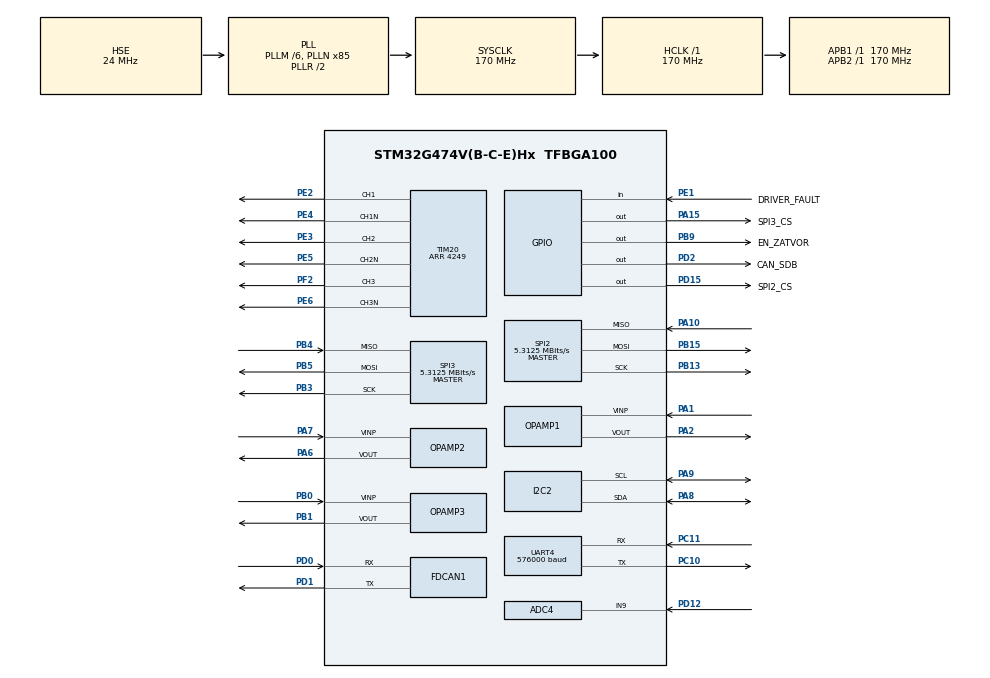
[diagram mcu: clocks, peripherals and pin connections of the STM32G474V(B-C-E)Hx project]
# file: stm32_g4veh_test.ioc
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ADC1.Channel-0\#ChannelRegularConversion=ADC_CHANNEL_VOPAMP1
ADC1.ExternalTrigConv=ADC_EXTERNALTRIG_T20_TRGO
ADC1.NbrOfConversionFlag=1
ADC1.OffsetNumber-0\#ChannelRegularConversion=ADC_OFFSET_NONE
ADC1.Rank-0\#ChannelRegularConversion=1
ADC1.SamplingTime-0\#ChannelRegularConversion=ADC_SAMPLETIME_6CYCLES_5
ADC1.master=1
ADC2.Channel-0\#ChannelRegularConversion=ADC_CHANNEL_VOPAMP2
ADC2.ExternalTrigConv=ADC_EXTERNALTRIG_T20_TRGO
ADC2.NbrOfConversionFlag=1
ADC2.OffsetNumber-0\#ChannelRegularConversion=ADC_OFFSET_NONE
ADC2.Rank-0\#ChannelRegularConversion=1
ADC2.SamplingTime-0\#ChannelRegularConversion=ADC_SAMPLETIME_6CYCLES_5
ADC3.Channel-0\#ChannelRegularConversion=ADC_CHANNEL_VOPAMP3_ADC3
ADC3.ExternalTrigConv=ADC_EXTERNALTRIG_T20_TRGO
ADC3.NbrOfConversionFlag=1
ADC3.OffsetNumber-0\#ChannelRegularConversion=ADC_OFFSET_NONE
ADC3.Rank-0\#ChannelRegularConversion=1
ADC3.SamplingTime-0\#ChannelRegularConversion=ADC_SAMPLETIME_6CYCLES_5
ADC3.master=1
ADC4.Channel-0\#ChannelRegularConversion=ADC_CHANNEL_9
ADC4.NbrOfConversionFlag=1
ADC4.OffsetNumber-0\#ChannelRegularConversion=ADC_OFFSET_NONE
ADC4.Rank-0\#ChannelRegularConversion=1
ADC4.SamplingTime-0\#ChannelRegularConversion=ADC_SAMPLETIME_2CYCLES_5
Dma.Request0=UART4_TX
Dma.Request1=UART4_RX
Dma.UART4_RX.1.Direction=DMA_PERIPH_TO_MEMORY
Dma.UART4_RX.1.EventEnable=DISABLE
Dma.UART4_RX.1.Instance=DMA1_Channel2
Dma.UART4_RX.1.MemDataAlignment=DMA_MDATAALIGN_BYTE
Dma.UART4_RX.1.MemInc=DMA_MINC_ENABLE
Dma.UART4_RX.1.Mode=DMA_NORMAL
Dma.UART4_RX.1.PeriphDataAlignment=DMA_PDATAALIGN_BYTE
Dma.UART4_RX.1.PeriphInc=DMA_PINC_DISABLE
Dma.UART4_RX.1.Polarity=HAL_DMAMUX_REQ_GEN_RISING
Dma.UART4_RX.1.Priority=DMA_PRIORITY_LOW
Dma.UART4_RX.1.RequestNumber=1
Dma.UART4_RX.1.SignalID=NONE
Dma.UART4_RX.1.SyncEnable=DISABLE
Dma.UART4_RX.1.SyncPolarity=HAL_DMAMUX_SYNC_NO_EVENT
Dma.UART4_RX.1.SyncRequestNumber=1
Dma.UART4_RX.1.SyncSignalID=NONE
Dma.UART4_TX.0.Direction=DMA_MEMORY_TO_PERIPH
Dma.UART4_TX.0.EventEnable=DISABLE
Dma.UART4_TX.0.Instance=DMA1_Channel1
Dma.UART4_TX.0.MemDataAlignment=DMA_MDATAALIGN_BYTE
Dma.UART4_TX.0.MemInc=DMA_MINC_ENABLE
Dma.UART4_TX.0.Mode=DMA_NORMAL
Dma.UART4_TX.0.PeriphDataAlignment=DMA_PDATAALIGN_BYTE
Dma.UART4_TX.0.PeriphInc=DMA_PINC_DISABLE
Dma.UART4_TX.0.Polarity=HAL_DMAMUX_REQ_GEN_RISING
Dma.UART4_TX.0.Priority=DMA_PRIORITY_LOW
Dma.UART4_TX.0.RequestNumber=1
Dma.UART4_TX.0.SignalID=NONE
Dma.UART4_TX.0.SyncEnable=DISABLE
Dma.UART4_TX.0.SyncPolarity=HAL_DMAMUX_SYNC_NO_EVENT
Dma.UART4_TX.0.SyncRequestNumber=1
Dma.UART4_TX.0.SyncSignalID=NONE
FDCAN1.ClockDivider=FDCAN_CLOCK_DIV1
FDCAN1.NominalPrescaler=170
FDCAN1.NominalTimeSeg1=4
FDCAN1.NominalTimeSeg2=3
FDCAN1.TxFifoQueueMode=FDCAN_TX_QUEUE_OPERATION
I2C2.Timing=0x30A0A7FB
Mcu.Family=STM32G4
Mcu.Name=STM32G474V(B-C-E)Hx
Mcu.Package=TFBGA100
NVIC.DMA1_Channel1_IRQn=true\:0\:0\:false\:false\:true\:false\:true
NVIC.DMA1_Channel2_IRQn=true\:0\:0\:false\:false\:true\:false\:true
NVIC.FDCAN1_IT0_IRQn=true\:0\:0\:false\:false\:true\:true\:true
NVIC.FDCAN1_IT1_IRQn=true\:0\:0\:false\:false\:true\:true\:true
NVIC.PriorityGroup=NVIC_PRIORITYGROUP_4
NVIC.UART4_IRQn=true\:0\:0\:false\:false\:true\:true\:true
OPAMP1.PgaGain=OPAMP_PGA_GAIN_16_OR_MINUS_15
OPAMP1.PowerMode=OPAMP_POWERMODE_HIGHSPEED
OPAMP2.PgaGain=OPAMP_PGA_GAIN_16_OR_MINUS_15
OPAMP2.PowerMode=OPAMP_POWERMODE_HIGHSPEED
OPAMP3.PgaGain=OPAMP_PGA_GAIN_16_OR_MINUS_15
OPAMP3.PowerMode=OPAMP_POWERMODE_HIGHSPEED
PA1.Mode=PGA Not Connected
PA1.Signal=OPAMP1_VINP
PA10.Mode=Full_Duplex_Master
PA10.Signal=SPI2_MISO
PA13.Mode=Serial_Wire
PA13.Signal=SYS_JTMS-SWDIO
PA14.Mode=Serial_Wire
PA14.Signal=SYS_JTCK-SWCLK
PA15.GPIO_Label=SPI3_CS
PA15.GPIO_Speed=GPIO_SPEED_FREQ_VERY_HIGH
PA15.PinState=GPIO_PIN_SET
PA15.Signal=GPIO_Output
PA2.Mode=PGA Not Connected
PA2.Signal=OPAMP1_VOUT
PA6.Mode=PGA Not Connected
PA6.Signal=OPAMP2_VOUT
PA7.Mode=PGA Not Connected
PA7.Signal=OPAMP2_VINP
PA8.GPIO_PuPdOD=GPIO_PULLUP
PA8.GPIO_Speed=GPIO_SPEED_FREQ_MEDIUM
PA8.Mode=I2C
PA8.Signal=I2C2_SDA
PA9.GPIO_PuPdOD=GPIO_PULLUP
PA9.GPIO_Speed=GPIO_SPEED_FREQ_MEDIUM
PA9.Mode=I2C
PA9.Signal=I2C2_SCL
PB0.Mode=PGA Not Connected
PB0.Signal=OPAMP3_VINP
PB1.Mode=PGA Not Connected
PB1.Signal=OPAMP3_VOUT
PB13.Mode=Full_Duplex_Master
PB13.Signal=SPI2_SCK
PB15.Mode=Full_Duplex_Master
PB15.Signal=SPI2_MOSI
PB3.Mode=Full_Duplex_Master
PB3.Signal=SPI3_SCK
PB4.Mode=Full_Duplex_Master
PB4.Signal=SPI3_MISO
PB5.Mode=Full_Duplex_Master
PB5.Signal=SPI3_MOSI
PB9.GPIO_Label=EN_ZATVOR
PB9.GPIO_Speed=GPIO_SPEED_FREQ_VERY_HIGH
PB9.Signal=GPIO_Output
PC10.Mode=Asynchronous
PC10.Signal=UART4_TX
PC11.Mode=Asynchronous
PC11.Signal=UART4_RX
PD0.Mode=FDCANFD
PD0.Signal=FDCAN1_RX
PD1.Mode=FDCANFD
PD1.Signal=FDCAN1_TX
PD12.Mode=IN9-Single-Ended
PD12.Signal=ADC4_IN9
PD15.GPIO_Label=SPI2_CS
PD15.GPIO_Speed=GPIO_SPEED_FREQ_VERY_HIGH
PD15.PinState=GPIO_PIN_SET
PD15.Signal=GPIO_Output
PD2.GPIO_Label=CAN_SDB
PD2.Signal=GPIO_Output
PE1.GPIO_Label=DRIVER_FAULT
PE1.Signal=GPIO_Input
PE2.Mode=PWM Generation1 CH1 CH1N
PE2.Signal=TIM20_CH1
PE3.Signal=S_TIM20_CH2
PE4.Mode=PWM Generation1 CH1 CH1N
PE4.Signal=TIM20_CH1N
PE5.Mode=PWM Generation2 CH2 CH2N
PE5.Signal=TIM20_CH2N
PE6.Mode=PWM Generation3 CH3 CH3N
PE6.Signal=TIM20_CH3N
PF0-OSC_IN.Mode=HSE-External-Oscillator
PF0-OSC_IN.Signal=RCC_OSC_IN
PF1-OSC_OUT.Mode=HSE-External-Oscillator
PF1-OSC_OUT.Signal=RCC_OSC_OUT
PF2.Signal=S_TIM20_CH3
ProjectManager.HeapSize=0x200
ProjectManager.StackSize=0x400
ProjectManager.TargetToolchain=SW4STM32
RCC.ADC12Freq_Value=170000000
RCC.ADC345Freq_Value=170000000
RCC.AHBFreq_Value=170000000
RCC.APB1Freq_Value=170000000
RCC.APB1TimFreq_Value=170000000
RCC.APB2Freq_Value=170000000
RCC.APB2TimFreq_Value=170000000
RCC.CortexFreq_Value=170000000
RCC.EXTERNAL_CLOCK_VALUE=12288000
RCC.HCLKFreq_Value=170000000
RCC.HSE_VALUE=24000000
RCC.HSI48_VALUE=48000000
RCC.HSI_VALUE=16000000
RCC.LSE_VALUE=32768
RCC.PLLM=RCC_PLLM_DIV6
RCC.PLLN=85
RCC.PLLSourceVirtual=RCC_PLLSOURCE_HSE
RCC.SYSCLKFreq_VALUE=170000000
RCC.SYSCLKSource=RCC_SYSCLKSOURCE_PLLCLK
RCC.USBFreq_Value=170000000
RCC.VCOOutputFreq_Value=340000000
SH.S_TIM20_CH2.0=TIM20_CH2,PWM Generation2 CH2 CH2N
SH.S_TIM20_CH3.0=TIM20_CH3,PWM Generation3 CH3 CH3N
SPI2.BaudRatePrescaler=SPI_BAUDRATEPRESCALER_32
SPI2.CalculateBaudRate=5.3125 MBits/s
SPI2.DataSize=SPI_DATASIZE_8BIT
SPI2.Direction=SPI_DIRECTION_2LINES
SPI2.Mode=SPI_MODE_MASTER
SPI2.VirtualType=VM_MASTER
SPI3.BaudRatePrescaler=SPI_BAUDRATEPRESCALER_32
SPI3.CalculateBaudRate=5.3125 MBits/s
SPI3.DataSize=SPI_DATASIZE_8BIT
SPI3.Direction=SPI_DIRECTION_2LINES
SPI3.Mode=SPI_MODE_MASTER
SPI3.VirtualType=VM_MASTER
TIM20.Channel-PWM\ Generation1\ CH1\ CH1N=TIM_CHANNEL_1
TIM20.Channel-PWM\ Generation2\ CH2\ CH2N=TIM_CHANNEL_2
TIM20.Channel-PWM\ Generation3\ CH3\ CH3N=TIM_CHANNEL_3
TIM20.Channel-PWM\ Generation4\ No\ Output=TIM_CHANNEL_4
TIM20.CounterMode=TIM_COUNTERMODE_CENTERALIGNED1
TIM20.DeadTime=16
TIM20.LockLevel=TIM_LOCKLEVEL_1
TIM20.OCMode_PWM-PWM\ Generation4\ No\ Output=TIM_OCMODE_PWM2
TIM20.PeriodNoDither=4249
TIM20.PulseNoDither_4=2048
TIM20.TIM_MasterOutputTrigger=TIM_TRGO_OC4REF
UART4.BaudRate=576000
VP_ADC1_OPAMP_INTERNAL1.Mode=IN-OPAMP1
VP_ADC2_OPAMP_INTERNAL2.Mode=IN-OPAMP2
VP_ADC3_OPAMP_INTERNAL3.Mode=IN-OPAMP3
VP_SYS_VS_DBSignals.Mode=DisableDeadBatterySignals
VP_TIM20_VS_ClockSourceINT.Mode=Internal
VP_TIM20_VS_no_output4.Mode=PWM Generation4 No Output
board=custom

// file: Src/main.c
/* USER CODE BEGIN Header */
/**
 ******************************************************************************
 * @file           : main.c
 * @brief          : Main program body
 ******************************************************************************
 * @attention
 *
 * <h2><center>&copy; Copyright (c) 2019 STMicroelectronics.
 * All rights reserved.</center></h2>
 *
 * This software component is licensed by ST under BSD 3-Clause license,
 * the "License"; You may not use this file except in compliance with the
 * License. You may obtain a copy of the License at:
 *                        opensource.org/licenses/BSD-3-Clause
 *
 ******************************************************************************
 */
/* USER CODE END Header */

#include "main.h"

/* USER CODE BEGIN Includes */
#include <math.h>
#include "../foc/foc.h"

#include "../parser_1010/parser_1010.h"

#include "CANopen.h"
/* USER CODE END Includes */

/* USER CODE BEGIN PTD */
// for serial port
#define size_pack 500
uint8_t Rx0[size_pack];
uint8_t Rx1[size_pack];
uint8_t *current_buf = Rx0;
uint32_t pr_CNDTR = size_pack;
uint32_t pr_read_time;
uint32_t read_period = 20;

uint32_t sending_period = 1;
uint32_t pr_sending_time = 0;

uint32_t ADC[3];

/* USER CODE END PTD */

ADC_HandleTypeDef hadc1;
ADC_HandleTypeDef hadc2;
ADC_HandleTypeDef hadc3;
ADC_HandleTypeDef hadc4;

FDCAN_HandleTypeDef hfdcan1;

I2C_HandleTypeDef hi2c2;

OPAMP_HandleTypeDef hopamp1;
OPAMP_HandleTypeDef hopamp2;
OPAMP_HandleTypeDef hopamp3;

SPI_HandleTypeDef hspi2;
SPI_HandleTypeDef hspi3;

TIM_HandleTypeDef htim20;

UART_HandleTypeDef huart4;
DMA_HandleTypeDef hdma_uart4_tx;
DMA_HandleTypeDef hdma_uart4_rx;

/* USER CODE BEGIN PV */
uint8_t str[200];

float omega = 0, omega_filtred = 0, K_omega = 0.0008, omega_0 = 360;
float phi, phi_pr, delta_phi, global_phi = 0;
float _phi_0 = 0;

float t = 0;
float dt = 0;

typedef enum
{
    CONTROL_MODE_MOMENT = 0,
    CONTROL_MODE_VELOCITY,
    CONTROL_MODE_POSITION,
    CONTROL_MODE_CALIBRATION,
    CONTROL_MODE_IDLE,
    CONTROL_MODE_CURRENT
} control_mode_t;

typedef struct
{
    control_mode_t current;
    volatile control_mode_t requested;
} control_state_machine_t;

static control_state_machine_t control_state = {
    .current = CONTROL_MODE_MOMENT,
    .requested = CONTROL_MODE_MOMENT,
};

typedef struct
{
    float P;
    float omega;
    float n;
    float phi;
    float S;
} motor_const;

motor_const m1 = {.P = 0.9f, .omega = -16.00f, .phi = 0, .n = 10, .S = 0};

/* USER CODE END PV */

void SystemClock_Config(void);
static void MX_GPIO_Init(void);
static void MX_DMA_Init(void);
static void MX_UART4_Init(void);
static void MX_ADC1_Init(void);
static void MX_ADC2_Init(void);
static void MX_ADC3_Init(void);
static void MX_OPAMP1_Init(void);
static void MX_OPAMP2_Init(void);
static void MX_OPAMP3_Init(void);
static void MX_SPI2_Init(void);
static void MX_TIM20_Init(void);
static void MX_ADC4_Init(void);
static void MX_I2C2_Init(void);
static void MX_SPI3_Init(void);
static void MX_FDCAN1_Init(void);
/* USER CODE BEGIN PFP */

void send_data(__IO uint32_t *ADC_1, __IO uint32_t *ADC_2, __IO uint32_t *ADC_4, float phi,
               float GlobalPhi, float dt, float time, float omega)
{
    Mcdata data;
    static uint16_t cnt = 0;

    data.ADC1_1 = ADC_1[0];
    data.ADC1_2 = ADC_1[1];
    data.ADC1_3 = ADC_1[2];

    data.ADC2_1 = ADC_2[0];
    data.ADC2_2 = ADC_2[1];
    data.ADC2_3 = ADC_2[2];

    data.ADC4_1 = 0;
    data.ADC4_2 = 0;
    data.ADC4_3 = cnt;

    data.phi = phi;
    data.Globalphi = GlobalPhi;
    data.omega = omega;
    data.dt = dt;
    data.time = time;

    generate_message(str, &data, 0x02, sizeof(Mcdata));
    cnt++;

    HAL_UART_Transmit_DMA(&huart4, str, sizeof(Mcdata) + 2);
}

static void DWT_init(void)
{
    CoreDebug->DEMCR |= CoreDebug_DEMCR_TRCENA_Msk;
    DWT->CTRL |= DWT_CTRL_CYCCNTENA_Msk;
}

void delay_us(uint32_t us)
{
    uint32_t us_count_tic = us * (SystemCoreClock / 1000000);
    DWT->CYCCNT = 0U; // обнуляем счётчик
    while (DWT->CYCCNT < us_count_tic)
        ;
}

void delay_ns(uint32_t ns)
{
    uint32_t ns_count_tic = ns * (SystemCoreClock / 1000000000);
    DWT->CYCCNT = 0U; // обнуляем счётчик
    while (DWT->CYCCNT < ns_count_tic)
        ;
}

static uint32_t max_phase_compare(const volatile uint32_t *compare)
{
    uint32_t maximum = compare[0];
    if (compare[1] > maximum)
    {
        maximum = compare[1];
    }
    if (compare[2] > maximum)
    {
        maximum = compare[2];
    }
    return maximum;
}

static control_mode_t control_state_machine_step(control_state_machine_t *state)
{
    control_mode_t requested = state->requested;

    switch (requested)
    {
    case CONTROL_MODE_MOMENT:
    case CONTROL_MODE_VELOCITY:
    case CONTROL_MODE_POSITION:
    case CONTROL_MODE_CALIBRATION:
    case CONTROL_MODE_IDLE:
    case CONTROL_MODE_CURRENT:
        state->current = requested;
        break;
    default:
        state->requested = CONTROL_MODE_IDLE;
        state->current = CONTROL_MODE_IDLE;
        break;
    }

    return state->current;
}

/* USER CODE END PFP */

int main(void)
{

    /* MCU Configuration--------------------------------------------------------*/

    /* Reset of all peripherals, Initializes the Flash interface and the Systick. */
    HAL_Init();

    /* Configure the system clock */
    SystemClock_Config();

    /* Initialize all configured peripherals */
    MX_GPIO_Init();
    MX_DMA_Init();
    MX_UART4_Init();
    MX_ADC1_Init();
    MX_ADC2_Init();
    MX_ADC3_Init();
    MX_OPAMP1_Init();
    MX_OPAMP2_Init();
    MX_OPAMP3_Init();
    MX_SPI2_Init();
    MX_TIM20_Init();
    MX_ADC4_Init();
    MX_I2C2_Init();
    MX_SPI3_Init();
    MX_FDCAN1_Init();
    /* USER CODE BEGIN 2 */

    CO_ReturnError_t canopen_status = CO_init(&hfdcan1, 1 /* NodeID */, 500 /* bit rate */);
    if ((canopen_status != CO_ERROR_NO) || (CO == NULL) || (CO->CANmodule[0] == NULL))
    {
        Error_Handler();
        return 1;
    }
    CO_CANsetNormalMode(CO->CANmodule[0]);
    HAL_GPIO_WritePin(CAN_SDB_GPIO_Port, CAN_SDB_Pin, GPIO_PIN_RESET);
    CO_sendNMTcommand(CO, CO_NMT_ENTER_OPERATIONAL, 0x25);

    uint32_t canopen_tick = HAL_GetTick();

    DWT_init();

    HAL_OPAMP_Start(&hopamp1);
    HAL_OPAMP_Start(&hopamp2);
    HAL_OPAMP_Start(&hopamp3);

    HAL_ADCEx_Calibration_Start(&hadc1, ADC_SINGLE_ENDED);
    HAL_ADCEx_Calibration_Start(&hadc2, ADC_SINGLE_ENDED);
    HAL_ADCEx_Calibration_Start(&hadc3, ADC_SINGLE_ENDED);

    EN_H;
    HAL_TIM_PWM_Start(&htim20, TIM_CHANNEL_1);
    HAL_TIMEx_OCN_Start(&htim20, TIM_CHANNEL_1);
    HAL_TIM_PWM_Start(&htim20, TIM_CHANNEL_2);
    HAL_TIMEx_OCN_Start(&htim20, TIM_CHANNEL_2);
    HAL_TIM_PWM_Start(&htim20, TIM_CHANNEL_3);
    HAL_TIMEx_OCN_Start(&htim20, TIM_CHANNEL_3);

    HAL_TIM_PWM_Start_IT(&htim20, TIM_CHANNEL_4);

    float T[3];
    m1.P = 0.1;
    m1.phi = 0;
    m1.S = htim20.Instance->ARR / 2;
    float I_error = 0;
    float p_error = 0;
    float error = 0;
    float D_error = 0;
    HAL_UART_Receive_DMA(&huart4, Rx0, size_pack);
    HAL_ADC_Start(&hadc1);
    HAL_ADC_Start(&hadc2);
    HAL_ADC_Start(&hadc3);
    /* USER CODE END 2 */

    /* Infinite loop */
    /* USER CODE BEGIN WHILE */
    while (1)
    {
        uint32_t current_tick = HAL_GetTick();
        uint32_t canopen_elapsed_ms = current_tick - canopen_tick;
        if (canopen_elapsed_ms > 0U)
        {
            uint16_t process_time_ms =
                canopen_elapsed_ms > UINT16_MAX ? UINT16_MAX : (uint16_t)canopen_elapsed_ms;
            CO_process(CO, process_time_ms, NULL);
            canopen_tick = current_tick;
        }

        HAL_ADC_Start(&hadc4);

        ADC[2] = 4095 - hadc1.Instance->DR; // W
        ADC[0] = 4095 - hadc2.Instance->DR; // U
        ADC[1] = 4095 - hadc3.Instance->DR; // V
        (void)hadc4.Instance->DR;
        dt = ((float)DWT->CYCCNT / (SystemCoreClock));
        DWT->CYCCNT = 0;
        t = ((float)HAL_GetTick()) * 0.001f;

        delta_phi = ((phi_pr > 270.0f) && (phi < 90.0f))   ? (360.0f + phi - phi_pr)
                    : ((phi_pr < 90.0f) && (phi > 270.0f)) ? (-360.0f + phi - phi_pr)
                                                           : (phi - phi_pr);
        phi_pr = phi;

        global_phi += delta_phi;

        omega = delta_phi / dt;
        omega_filtred += K_omega * (omega - omega_filtred);
        switch (control_state_machine_step(&control_state))
        {

        case CONTROL_MODE_MOMENT:
        {
            m1.P = 0.07; // fabsf(_phi_0);
            m1.phi = -t * 2;

            vector_pwm(T, m1.phi, m1.P);
            htim20.Instance->CCR1 = (uint32_t)(T[0] * htim20.Instance->ARR); // U
            htim20.Instance->CCR2 = (uint32_t)(T[1] * htim20.Instance->ARR); // V
            htim20.Instance->CCR3 = (uint32_t)(T[2] * htim20.Instance->ARR); // W

            htim20.Instance->CCR4 = max_phase_compare(&htim20.Instance->CCR1);
            break;
        }
        case CONTROL_MODE_VELOCITY:
        {
            /* Angular velocity control. */
            p_error = error;
            omega_0 = _phi_0;
            error = omega_0 - omega_filtred;

            D_error = (error - p_error) / dt;
            I_error += error * dt * 70;

            float c = 900.0;
            I_error = I_error > c ? c : (I_error < -c ? -c : I_error);

            float PI_er_ = (error * 0.005 + I_error * 0.001f + D_error * 0.00001f * 0);
            float PI_er = fabsf(PI_er_);

            float sign = PI_er == 0 ? 0 : PI_er_ / PI_er;
            m1.phi = geom_angle_to_electric_angle(phi) * M_PI_ / 180.0f + M_PI_ / 2 * sign;
            m1.P = PI_er > 0.9 ? 0.9 : PI_er < 0 ? 0 : PI_er;

            vector_pwm(T, -m1.phi, m1.P);
            htim20.Instance->CCR1 = (uint32_t)(T[0] * htim20.Instance->ARR); // U
            htim20.Instance->CCR2 = (uint32_t)(T[1] * htim20.Instance->ARR); // V
            htim20.Instance->CCR3 = (uint32_t)(T[2] * htim20.Instance->ARR); // W
            break;
        }
        case CONTROL_MODE_POSITION:
        {
            // position-control-------------------------------------------------------------------------------
            {
                p_error = error;
                error = _phi_0 - global_phi;

                D_error = (error - p_error) / dt;
                I_error += error * dt * 70;

                float c = 80.0;
                I_error = I_error > c ? c : (I_error < -c ? -c : I_error);

                float PI_er_ = (error * 0.05f + I_error * 0.008f + D_error * 0.00001f);
                float PI_er = fabsf(PI_er_);

                float sign = PI_er == 0 ? 0 : PI_er_ / PI_er;
                m1.phi = geom_angle_to_electric_angle(phi) * M_PI_ / 180.0f + M_PI_ / 2 * sign;
                m1.P = PI_er > 0.9 ? 0.9 : PI_er < 0 ? 0 : PI_er;

                vector_pwm(T, -m1.phi, m1.P);
                htim20.Instance->CCR1 = (uint32_t)(T[0] * htim20.Instance->ARR); // U
                htim20.Instance->CCR2 = (uint32_t)(T[1] * htim20.Instance->ARR); // V
                htim20.Instance->CCR3 = (uint32_t)(T[2] * htim20.Instance->ARR); // W
                break;
            }
        }
        case CONTROL_MODE_CALIBRATION:
        {
            m1.P = 0.0; // fabsf(_phi_0);
            m1.phi = 0;

            vector_pwm(T, -m1.phi, m1.P);
            htim20.Instance->CCR1 = (uint32_t)(T[0] * htim20.Instance->ARR); // U
            htim20.Instance->CCR2 = (uint32_t)(T[1] * htim20.Instance->ARR); // V
            htim20.Instance->CCR3 = (uint32_t)(T[2] * htim20.Instance->ARR); // W
            break;
        }

        case CONTROL_MODE_IDLE:
        {
            htim20.Instance->CCR1 = 0;
            htim20.Instance->CCR2 = 0;
            htim20.Instance->CCR3 = 0;
            break;
        }
        case CONTROL_MODE_CURRENT:
        {

            vector_pwm(T, -m1.phi, m1.P);
            htim20.Instance->CCR1 = (uint32_t)(T[0] * htim20.Instance->ARR); // U
            htim20.Instance->CCR2 = (uint32_t)(T[1] * htim20.Instance->ARR); // V
            htim20.Instance->CCR3 = (uint32_t)(T[2] * htim20.Instance->ARR); // W
            break;
        }
        }

        /* Periodic telemetry. */
        if (HAL_GetTick() - pr_sending_time > sending_period)
        {

            if (huart4.gState == HAL_UART_STATE_READY)
            {
                send_data(ADC, &htim20.Instance->CCR1, ADC, phi, global_phi, dt, _phi_0, m1.phi);
            }
            pr_sending_time = HAL_GetTick();
        }

        if (huart4.RxState == HAL_UART_STATE_READY)
        {
            uint16_t size = pr_CNDTR - huart4.hdmarx->Instance->CNDTR;
            uint8_t *buff = huart4.pRxBuffPtr + size_pack - size - huart4.hdmarx->Instance->CNDTR;

            if (huart4.pRxBuffPtr == Rx0)
            {
                HAL_UART_Receive_DMA(&huart4, Rx1, 500);
            }
            else if (huart4.pRxBuffPtr == Rx1)
            {
                HAL_UART_Receive_DMA(&huart4, Rx0, 500);
            }

            uint8_t pa;
            messageStack stack;
            do
            {
                pa = parser(buff, &size, &stack);
                if ((pa & 0x40) == 0x40)
                {
                    switch (pa & 0x3f)
                    {
                    case defaultMessageId:
                        _phi_0 = stack.defaultMessage_.cnt;
                        break;
                    case McdataId:
                        break;
                    }
                }
            } while ((pa & 0x80) == 0x80 && (size > 0));
            current_buf = huart4.pRxBuffPtr;
            pr_CNDTR = size_pack;
        }

        /* Process bytes received by UART DMA. */
        if (HAL_GetTick() - pr_read_time >= read_period)
        {

            if (current_buf != huart4.pRxBuffPtr)
            {

                uint16_t size = pr_CNDTR;
                uint8_t pa;
                messageStack stack;
                do
                {
                    pa = parser(current_buf + size_pack - size - huart4.hdmarx->Instance->CNDTR,
                                &size, &stack);
                    if ((pa & 0x40) == 0x40)
                    {
                        switch (pa & 0x3f)
                        {
                        case defaultMessageId:
                            _phi_0 = stack.defaultMessage_.cnt;
                            break;
                        case McdataId:
                            break;
                        }
                    }
                } while ((pa & 0x80) == 0x80 && (size > 0));
                current_buf = huart4.pRxBuffPtr;
                pr_CNDTR = size_pack;
                {
                    uint16_t size = pr_CNDTR - huart4.hdmarx->Instance->CNDTR;
                    uint8_t pa;
                    messageStack stack;
                    do
                    {
                        pa = parser(current_buf + size_pack - size - huart4.hdmarx->Instance->CNDTR,
                                    &size, &stack);
                        if ((pa & 0x40) == 0x40)
                        {
                            switch (pa & 0x3f)
                            {
                            case defaultMessageId:
                                _phi_0 = stack.defaultMessage_.cnt;
                                break;
                            case McdataId:
                                break;
                            }
                        }
                    } while ((pa & 0x80) == 0x80 && (size > 0));
                    pr_read_time = HAL_GetTick();
                }
            }
            else
            {
                uint16_t size = pr_CNDTR - huart4.hdmarx->Instance->CNDTR;
                if (size > 0)
                {
                    pr_CNDTR = huart4.hdmarx->Instance->CNDTR;
                    uint8_t pa;
                    messageStack stack;
                    do
                    {
                        pa = parser(current_buf + size_pack - size - huart4.hdmarx->Instance->CNDTR,
                                    &size, &stack);
                        if ((pa & 0x40) == 0x40)
                        {
                            switch (pa & 0x3f)
                            {
                            case defaultMessageId:
                                _phi_0 = stack.defaultMessage_.cnt;
                                break;
                            case McdataId:
                                break;
                            }
                        }
                    } while ((pa & 0x80) == 0x80 && (size > 0));
                }
                pr_read_time = HAL_GetTick();
            }
        }

        /* USER CODE END WHILE */

    }
}

void SystemClock_Config(void)
{
    RCC_OscInitTypeDef RCC_OscInitStruct = {0};
    RCC_ClkInitTypeDef RCC_ClkInitStruct = {0};
    RCC_PeriphCLKInitTypeDef PeriphClkInit = {0};

    /** Configure the main internal regulator output voltage
     */
    HAL_PWREx_ControlVoltageScaling(PWR_REGULATOR_VOLTAGE_SCALE1_BOOST);
    /** Initializes the CPU, AHB and APB busses clocks
     */
    RCC_OscInitStruct.OscillatorType = RCC_OSCILLATORTYPE_HSE;
    RCC_OscInitStruct.HSEState = RCC_HSE_ON;
    RCC_OscInitStruct.PLL.PLLState = RCC_PLL_ON;
    RCC_OscInitStruct.PLL.PLLSource = RCC_PLLSOURCE_HSE;
    RCC_OscInitStruct.PLL.PLLM = RCC_PLLM_DIV6;
    RCC_OscInitStruct.PLL.PLLN = 85;
    RCC_OscInitStruct.PLL.PLLP = RCC_PLLP_DIV2;
    RCC_OscInitStruct.PLL.PLLQ = RCC_PLLQ_DIV2;
    RCC_OscInitStruct.PLL.PLLR = RCC_PLLR_DIV2;
    if (HAL_RCC_OscConfig(&RCC_OscInitStruct) != HAL_OK)
    {
        Error_Handler();
    }
    /** Initializes the CPU, AHB and APB busses clocks
     */
    RCC_ClkInitStruct.ClockType =
        RCC_CLOCKTYPE_HCLK | RCC_CLOCKTYPE_SYSCLK | RCC_CLOCKTYPE_PCLK1 | RCC_CLOCKTYPE_PCLK2;
    RCC_ClkInitStruct.SYSCLKSource = RCC_SYSCLKSOURCE_PLLCLK;
    RCC_ClkInitStruct.AHBCLKDivider = RCC_SYSCLK_DIV1;
    RCC_ClkInitStruct.APB1CLKDivider = RCC_HCLK_DIV1;
    RCC_ClkInitStruct.APB2CLKDivider = RCC_HCLK_DIV1;

    if (HAL_RCC_ClockConfig(&RCC_ClkInitStruct, FLASH_LATENCY_8) != HAL_OK)
    {
        Error_Handler();
    }
    /** Initializes the peripherals clocks
     */
    PeriphClkInit.PeriphClockSelection = RCC_PERIPHCLK_UART4 | RCC_PERIPHCLK_I2C2 |
                                         RCC_PERIPHCLK_ADC12 | RCC_PERIPHCLK_ADC345 |
                                         RCC_PERIPHCLK_FDCAN;
    PeriphClkInit.Uart4ClockSelection = RCC_UART4CLKSOURCE_PCLK1;
    PeriphClkInit.I2c2ClockSelection = RCC_I2C2CLKSOURCE_PCLK1;
    PeriphClkInit.FdcanClockSelection = RCC_FDCANCLKSOURCE_PCLK1;
    PeriphClkInit.Adc12ClockSelection = RCC_ADC12CLKSOURCE_SYSCLK;
    PeriphClkInit.Adc345ClockSelection = RCC_ADC345CLKSOURCE_SYSCLK;
    if (HAL_RCCEx_PeriphCLKConfig(&PeriphClkInit) != HAL_OK)
    {
        Error_Handler();
    }
}

static void MX_ADC1_Init(void)
{

    ADC_MultiModeTypeDef multimode = {0};
    ADC_ChannelConfTypeDef sConfig = {0};

    /** Common config
     */
    hadc1.Instance = ADC1;
    hadc1.Init.ClockPrescaler = ADC_CLOCK_ASYNC_DIV1;
    hadc1.Init.Resolution = ADC_RESOLUTION_12B;
    hadc1.Init.DataAlign = ADC_DATAALIGN_RIGHT;
    hadc1.Init.GainCompensation = 0;
    hadc1.Init.ScanConvMode = ADC_SCAN_DISABLE;
    hadc1.Init.EOCSelection = ADC_EOC_SINGLE_CONV;
    hadc1.Init.LowPowerAutoWait = DISABLE;
    hadc1.Init.ContinuousConvMode = DISABLE;
    hadc1.Init.NbrOfConversion = 1;
    hadc1.Init.DiscontinuousConvMode = DISABLE;
    hadc1.Init.ExternalTrigConv = ADC_EXTERNALTRIG_T20_TRGO;
    hadc1.Init.ExternalTrigConvEdge = ADC_EXTERNALTRIGCONVEDGE_RISING;
    hadc1.Init.DMAContinuousRequests = DISABLE;
    hadc1.Init.Overrun = ADC_OVR_DATA_PRESERVED;
    hadc1.Init.OversamplingMode = DISABLE;
    if (HAL_ADC_Init(&hadc1) != HAL_OK)
    {
        Error_Handler();
    }
    /** Configure the ADC multi-mode
     */
    multimode.Mode = ADC_MODE_INDEPENDENT;
    if (HAL_ADCEx_MultiModeConfigChannel(&hadc1, &multimode) != HAL_OK)
    {
        Error_Handler();
    }
    /** Configure Regular Channel
     */
    sConfig.Channel = ADC_CHANNEL_VOPAMP1;
    sConfig.Rank = ADC_REGULAR_RANK_1;
    sConfig.SamplingTime = ADC_SAMPLETIME_6CYCLES_5;
    sConfig.SingleDiff = ADC_SINGLE_ENDED;
    sConfig.OffsetNumber = ADC_OFFSET_NONE;
    sConfig.Offset = 0;
    if (HAL_ADC_ConfigChannel(&hadc1, &sConfig) != HAL_OK)
    {
        Error_Handler();
    }
}

static void MX_ADC2_Init(void)
{

    ADC_ChannelConfTypeDef sConfig = {0};

    /** Common config
     */
    hadc2.Instance = ADC2;
    hadc2.Init.ClockPrescaler = ADC_CLOCK_ASYNC_DIV1;
    hadc2.Init.Resolution = ADC_RESOLUTION_12B;
    hadc2.Init.DataAlign = ADC_DATAALIGN_RIGHT;
    hadc2.Init.GainCompensation = 0;
    hadc2.Init.ScanConvMode = ADC_SCAN_DISABLE;
    hadc2.Init.EOCSelection = ADC_EOC_SINGLE_CONV;
    hadc2.Init.LowPowerAutoWait = DISABLE;
    hadc2.Init.ContinuousConvMode = DISABLE;
    hadc2.Init.NbrOfConversion = 1;
    hadc2.Init.DiscontinuousConvMode = DISABLE;
    hadc2.Init.ExternalTrigConv = ADC_EXTERNALTRIG_T20_TRGO;
    hadc2.Init.ExternalTrigConvEdge = ADC_EXTERNALTRIGCONVEDGE_RISING;
    hadc2.Init.DMAContinuousRequests = DISABLE;
    hadc2.Init.Overrun = ADC_OVR_DATA_PRESERVED;
    hadc2.Init.OversamplingMode = DISABLE;
    if (HAL_ADC_Init(&hadc2) != HAL_OK)
    {
        Error_Handler();
    }
    /** Configure Regular Channel
     */
    sConfig.Channel = ADC_CHANNEL_VOPAMP2;
    sConfig.Rank = ADC_REGULAR_RANK_1;
    sConfig.SamplingTime = ADC_SAMPLETIME_6CYCLES_5;
    sConfig.SingleDiff = ADC_SINGLE_ENDED;
    sConfig.OffsetNumber = ADC_OFFSET_NONE;
    sConfig.Offset = 0;
    if (HAL_ADC_ConfigChannel(&hadc2, &sConfig) != HAL_OK)
    {
        Error_Handler();
    }
}

static void MX_ADC3_Init(void)
{

    ADC_MultiModeTypeDef multimode = {0};
    ADC_ChannelConfTypeDef sConfig = {0};

    /** Common config
     */
    hadc3.Instance = ADC3;
    hadc3.Init.ClockPrescaler = ADC_CLOCK_ASYNC_DIV1;
    hadc3.Init.Resolution = ADC_RESOLUTION_12B;
    hadc3.Init.DataAlign = ADC_DATAALIGN_RIGHT;
    hadc3.Init.GainCompensation = 0;
    hadc3.Init.ScanConvMode = ADC_SCAN_DISABLE;
    hadc3.Init.EOCSelection = ADC_EOC_SINGLE_CONV;
    hadc3.Init.LowPowerAutoWait = DISABLE;
    hadc3.Init.ContinuousConvMode = DISABLE;
    hadc3.Init.NbrOfConversion = 1;
    hadc3.Init.DiscontinuousConvMode = DISABLE;
    hadc3.Init.ExternalTrigConv = ADC_EXTERNALTRIG_T20_TRGO;
    hadc3.Init.ExternalTrigConvEdge = ADC_EXTERNALTRIGCONVEDGE_RISING;
    hadc3.Init.DMAContinuousRequests = DISABLE;
    hadc3.Init.Overrun = ADC_OVR_DATA_PRESERVED;
    hadc3.Init.OversamplingMode = DISABLE;
    if (HAL_ADC_Init(&hadc3) != HAL_OK)
    {
        Error_Handler();
    }
    /** Configure the ADC multi-mode
     */
    multimode.Mode = ADC_MODE_INDEPENDENT;
    if (HAL_ADCEx_MultiModeConfigChannel(&hadc3, &multimode) != HAL_OK)
    {
        Error_Handler();
    }
    /** Configure Regular Channel
     */
    sConfig.Channel = ADC_CHANNEL_VOPAMP3_ADC3;
    sConfig.Rank = ADC_REGULAR_RANK_1;
    sConfig.SamplingTime = ADC_SAMPLETIME_6CYCLES_5;
    sConfig.SingleDiff = ADC_SINGLE_ENDED;
    sConfig.OffsetNumber = ADC_OFFSET_NONE;
    sConfig.Offset = 0;
    if (HAL_ADC_ConfigChannel(&hadc3, &sConfig) != HAL_OK)
    {
        Error_Handler();
    }
}

static void MX_ADC4_Init(void)
{

    ADC_ChannelConfTypeDef sConfig = {0};

    /** Common config
     */
    hadc4.Instance = ADC4;
    hadc4.Init.ClockPrescaler = ADC_CLOCK_ASYNC_DIV1;
    hadc4.Init.Resolution = ADC_RESOLUTION_12B;
    hadc4.Init.DataAlign = ADC_DATAALIGN_RIGHT;
    hadc4.Init.GainCompensation = 0;
    hadc4.Init.ScanConvMode = ADC_SCAN_DISABLE;
    hadc4.Init.EOCSelection = ADC_EOC_SINGLE_CONV;
    hadc4.Init.LowPowerAutoWait = DISABLE;
    hadc4.Init.ContinuousConvMode = DISABLE;
    hadc4.Init.NbrOfConversion = 1;
    hadc4.Init.DiscontinuousConvMode = DISABLE;
    hadc4.Init.ExternalTrigConv = ADC_SOFTWARE_START;
    hadc4.Init.ExternalTrigConvEdge = ADC_EXTERNALTRIGCONVEDGE_NONE;
    hadc4.Init.DMAContinuousRequests = DISABLE;
    hadc4.Init.Overrun = ADC_OVR_DATA_PRESERVED;
    hadc4.Init.OversamplingMode = DISABLE;
    if (HAL_ADC_Init(&hadc4) != HAL_OK)
    {
        Error_Handler();
    }
    /** Configure Regular Channel
     */
    sConfig.Channel = ADC_CHANNEL_9;
    sConfig.Rank = ADC_REGULAR_RANK_1;
    sConfig.SamplingTime = ADC_SAMPLETIME_2CYCLES_5;
    sConfig.SingleDiff = ADC_SINGLE_ENDED;
    sConfig.OffsetNumber = ADC_OFFSET_NONE;
    sConfig.Offset = 0;
    if (HAL_ADC_ConfigChannel(&hadc4, &sConfig) != HAL_OK)
    {
        Error_Handler();
    }
}

static void MX_FDCAN1_Init(void)
{

    hfdcan1.Instance = FDCAN1;
    hfdcan1.Init.ClockDivider = FDCAN_CLOCK_DIV1;
    hfdcan1.Init.FrameFormat = FDCAN_FRAME_FD_NO_BRS;
    hfdcan1.Init.Mode = FDCAN_MODE_NORMAL;
    hfdcan1.Init.AutoRetransmission = DISABLE;
    hfdcan1.Init.TransmitPause = DISABLE;
    hfdcan1.Init.ProtocolException = DISABLE;
    hfdcan1.Init.NominalPrescaler = 20;
    hfdcan1.Init.NominalSyncJumpWidth = 1;
    hfdcan1.Init.NominalTimeSeg1 = 13;
    hfdcan1.Init.NominalTimeSeg2 = 3;
    hfdcan1.Init.DataPrescaler = 1;
    hfdcan1.Init.DataSyncJumpWidth = 1;
    hfdcan1.Init.DataTimeSeg1 = 1;
    hfdcan1.Init.DataTimeSeg2 = 1;
    hfdcan1.Init.StdFiltersNbr = 0;
    hfdcan1.Init.ExtFiltersNbr = 0;
    hfdcan1.Init.TxFifoQueueMode = FDCAN_TX_QUEUE_OPERATION;
    if (HAL_FDCAN_Init(&hfdcan1) != HAL_OK)
    {
        Error_Handler();
    }
}

static void MX_I2C2_Init(void)
{

    hi2c2.Instance = I2C2;
    hi2c2.Init.Timing = 0x30A0A7FB;
    hi2c2.Init.OwnAddress1 = 0;
    hi2c2.Init.AddressingMode = I2C_ADDRESSINGMODE_7BIT;
    hi2c2.Init.DualAddressMode = I2C_DUALADDRESS_DISABLE;
    hi2c2.Init.OwnAddress2 = 0;
    hi2c2.Init.OwnAddress2Masks = I2C_OA2_NOMASK;
    hi2c2.Init.GeneralCallMode = I2C_GENERALCALL_DISABLE;
    hi2c2.Init.NoStretchMode = I2C_NOSTRETCH_DISABLE;
    if (HAL_I2C_Init(&hi2c2) != HAL_OK)
    {
        Error_Handler();
    }
    /** Configure Analogue filter
     */
    if (HAL_I2CEx_ConfigAnalogFilter(&hi2c2, I2C_ANALOGFILTER_ENABLE) != HAL_OK)
    {
        Error_Handler();
    }
    /** Configure Digital filter
     */
    if (HAL_I2CEx_ConfigDigitalFilter(&hi2c2, 0) != HAL_OK)
    {
        Error_Handler();
    }
}

static void MX_OPAMP1_Init(void)
{

    hopamp1.Instance = OPAMP1;
    hopamp1.Init.PowerMode = OPAMP_POWERMODE_HIGHSPEED;
    hopamp1.Init.Mode = OPAMP_PGA_MODE;
    hopamp1.Init.NonInvertingInput = OPAMP_NONINVERTINGINPUT_IO0;
    hopamp1.Init.InternalOutput = ENABLE;
    hopamp1.Init.TimerControlledMuxmode = OPAMP_TIMERCONTROLLEDMUXMODE_DISABLE;
    hopamp1.Init.PgaConnect = OPAMP_PGA_CONNECT_INVERTINGINPUT_NO;
    hopamp1.Init.PgaGain = OPAMP_PGA_GAIN_16_OR_MINUS_15;
    hopamp1.Init.UserTrimming = OPAMP_TRIMMING_FACTORY;
    if (HAL_OPAMP_Init(&hopamp1) != HAL_OK)
    {
        Error_Handler();
    }
}

static void MX_OPAMP2_Init(void)
{

    hopamp2.Instance = OPAMP2;
    hopamp2.Init.PowerMode = OPAMP_POWERMODE_HIGHSPEED;
    hopamp2.Init.Mode = OPAMP_PGA_MODE;
    hopamp2.Init.NonInvertingInput = OPAMP_NONINVERTINGINPUT_IO0;
    hopamp2.Init.InternalOutput = ENABLE;
    hopamp2.Init.TimerControlledMuxmode = OPAMP_TIMERCONTROLLEDMUXMODE_DISABLE;
    hopamp2.Init.PgaConnect = OPAMP_PGA_CONNECT_INVERTINGINPUT_NO;
    hopamp2.Init.PgaGain = OPAMP_PGA_GAIN_16_OR_MINUS_15;
    hopamp2.Init.UserTrimming = OPAMP_TRIMMING_FACTORY;
    if (HAL_OPAMP_Init(&hopamp2) != HAL_OK)
    {
        Error_Handler();
    }
}

static void MX_OPAMP3_Init(void)
{

    hopamp3.Instance = OPAMP3;
    hopamp3.Init.PowerMode = OPAMP_POWERMODE_HIGHSPEED;
    hopamp3.Init.Mode = OPAMP_PGA_MODE;
    hopamp3.Init.NonInvertingInput = OPAMP_NONINVERTINGINPUT_IO0;
    hopamp3.Init.InternalOutput = ENABLE;
    hopamp3.Init.TimerControlledMuxmode = OPAMP_TIMERCONTROLLEDMUXMODE_DISABLE;
    hopamp3.Init.PgaConnect = OPAMP_PGA_CONNECT_INVERTINGINPUT_NO;
    hopamp3.Init.PgaGain = OPAMP_PGA_GAIN_16_OR_MINUS_15;
    hopamp3.Init.UserTrimming = OPAMP_TRIMMING_FACTORY;
    if (HAL_OPAMP_Init(&hopamp3) != HAL_OK)
    {
        Error_Handler();
    }
}

static void MX_SPI2_Init(void)
{

    /* SPI2 parameter configuration*/
    hspi2.Instance = SPI2;
    hspi2.Init.Mode = SPI_MODE_MASTER;
    hspi2.Init.Direction = SPI_DIRECTION_2LINES;
    hspi2.Init.DataSize = SPI_DATASIZE_8BIT;
    hspi2.Init.CLKPolarity = SPI_POLARITY_LOW;
    hspi2.Init.CLKPhase = SPI_PHASE_1EDGE;
    hspi2.Init.NSS = SPI_NSS_SOFT;
    hspi2.Init.BaudRatePrescaler = SPI_BAUDRATEPRESCALER_32;
    hspi2.Init.FirstBit = SPI_FIRSTBIT_MSB;
    hspi2.Init.TIMode = SPI_TIMODE_DISABLE;
    hspi2.Init.CRCCalculation = SPI_CRCCALCULATION_DISABLE;
    hspi2.Init.CRCPolynomial = 7;
    hspi2.Init.CRCLength = SPI_CRC_LENGTH_DATASIZE;
    hspi2.Init.NSSPMode = SPI_NSS_PULSE_ENABLE;
    if (HAL_SPI_Init(&hspi2) != HAL_OK)
    {
        Error_Handler();
    }
}

static void MX_SPI3_Init(void)
{

    /* SPI3 parameter configuration*/
    hspi3.Instance = SPI3;
    hspi3.Init.Mode = SPI_MODE_MASTER;
    hspi3.Init.Direction = SPI_DIRECTION_2LINES;
    hspi3.Init.DataSize = SPI_DATASIZE_8BIT;
    hspi3.Init.CLKPolarity = SPI_POLARITY_LOW;
    hspi3.Init.CLKPhase = SPI_PHASE_1EDGE;
    hspi3.Init.NSS = SPI_NSS_SOFT;
    hspi3.Init.BaudRatePrescaler = SPI_BAUDRATEPRESCALER_32;
    hspi3.Init.FirstBit = SPI_FIRSTBIT_MSB;
    hspi3.Init.TIMode = SPI_TIMODE_DISABLE;
    hspi3.Init.CRCCalculation = SPI_CRCCALCULATION_DISABLE;
    hspi3.Init.CRCPolynomial = 7;
    hspi3.Init.CRCLength = SPI_CRC_LENGTH_DATASIZE;
    hspi3.Init.NSSPMode = SPI_NSS_PULSE_ENABLE;
    if (HAL_SPI_Init(&hspi3) != HAL_OK)
    {
        Error_Handler();
    }
}

static void MX_TIM20_Init(void)
{

    TIM_ClockConfigTypeDef sClockSourceConfig = {0};
    TIM_MasterConfigTypeDef sMasterConfig = {0};
    TIM_OC_InitTypeDef sConfigOC = {0};
    TIM_BreakDeadTimeConfigTypeDef sBreakDeadTimeConfig = {0};

    htim20.Instance = TIM20;
    htim20.Init.Prescaler = 0;
    htim20.Init.CounterMode = TIM_COUNTERMODE_CENTERALIGNED1;
    htim20.Init.Period = 4249;
    htim20.Init.ClockDivision = TIM_CLOCKDIVISION_DIV1;
    htim20.Init.RepetitionCounter = 0;
    htim20.Init.AutoReloadPreload = TIM_AUTORELOAD_PRELOAD_DISABLE;
    if (HAL_TIM_Base_Init(&htim20) != HAL_OK)
    {
        Error_Handler();
    }
    sClockSourceConfig.ClockSource = TIM_CLOCKSOURCE_INTERNAL;
    if (HAL_TIM_ConfigClockSource(&htim20, &sClockSourceConfig) != HAL_OK)
    {
        Error_Handler();
    }
    if (HAL_TIM_PWM_Init(&htim20) != HAL_OK)
    {
        Error_Handler();
    }
    sMasterConfig.MasterOutputTrigger = TIM_TRGO_OC4REF;
    sMasterConfig.MasterOutputTrigger2 = TIM_TRGO2_RESET;
    sMasterConfig.MasterSlaveMode = TIM_MASTERSLAVEMODE_DISABLE;
    if (HAL_TIMEx_MasterConfigSynchronization(&htim20, &sMasterConfig) != HAL_OK)
    {
        Error_Handler();
    }
    sConfigOC.OCMode = TIM_OCMODE_PWM1;
    sConfigOC.Pulse = 0;
    sConfigOC.OCPolarity = TIM_OCPOLARITY_HIGH;
    sConfigOC.OCNPolarity = TIM_OCNPOLARITY_HIGH;
    sConfigOC.OCFastMode = TIM_OCFAST_DISABLE;
    sConfigOC.OCIdleState = TIM_OCIDLESTATE_RESET;
    sConfigOC.OCNIdleState = TIM_OCNIDLESTATE_RESET;
    if (HAL_TIM_PWM_ConfigChannel(&htim20, &sConfigOC, TIM_CHANNEL_1) != HAL_OK)
    {
        Error_Handler();
    }
    sConfigOC.Pulse = 0;
    if (HAL_TIM_PWM_ConfigChannel(&htim20, &sConfigOC, TIM_CHANNEL_2) != HAL_OK)
    {
        Error_Handler();
    }
    sConfigOC.Pulse = 0;
    if (HAL_TIM_PWM_ConfigChannel(&htim20, &sConfigOC, TIM_CHANNEL_3) != HAL_OK)
    {
        Error_Handler();
    }
    sConfigOC.OCMode = TIM_OCMODE_PWM2;
    sConfigOC.Pulse = 2048;
    sConfigOC.OCNPolarity = TIM_OCNPOLARITY_HIGH;
    if (HAL_TIM_PWM_ConfigChannel(&htim20, &sConfigOC, TIM_CHANNEL_4) != HAL_OK)
    {
        Error_Handler();
    }
    sBreakDeadTimeConfig.OffStateRunMode = TIM_OSSR_DISABLE;
    sBreakDeadTimeConfig.OffStateIDLEMode = TIM_OSSI_DISABLE;
    sBreakDeadTimeConfig.LockLevel = TIM_LOCKLEVEL_1;
    sBreakDeadTimeConfig.DeadTime = 16;
    sBreakDeadTimeConfig.BreakState = TIM_BREAK_DISABLE;
    sBreakDeadTimeConfig.BreakPolarity = TIM_BREAKPOLARITY_HIGH;
    sBreakDeadTimeConfig.BreakFilter = 0;
    sBreakDeadTimeConfig.BreakAFMode = TIM_BREAK_AFMODE_INPUT;
    sBreakDeadTimeConfig.Break2State = TIM_BREAK2_DISABLE;
    sBreakDeadTimeConfig.Break2Polarity = TIM_BREAK2POLARITY_HIGH;
    sBreakDeadTimeConfig.Break2Filter = 0;
    sBreakDeadTimeConfig.Break2AFMode = TIM_BREAK_AFMODE_INPUT;
    sBreakDeadTimeConfig.AutomaticOutput = TIM_AUTOMATICOUTPUT_DISABLE;
    if (HAL_TIMEx_ConfigBreakDeadTime(&htim20, &sBreakDeadTimeConfig) != HAL_OK)
    {
        Error_Handler();
    }
    HAL_TIM_MspPostInit(&htim20);
}

static void MX_UART4_Init(void)
{

    huart4.Instance = UART4;
    huart4.Init.BaudRate = 576000;
    huart4.Init.WordLength = UART_WORDLENGTH_8B;
    huart4.Init.StopBits = UART_STOPBITS_1;
    huart4.Init.Parity = UART_PARITY_NONE;
    huart4.Init.Mode = UART_MODE_TX_RX;
    huart4.Init.HwFlowCtl = UART_HWCONTROL_NONE;
    huart4.Init.OverSampling = UART_OVERSAMPLING_16;
    huart4.Init.OneBitSampling = UART_ONE_BIT_SAMPLE_DISABLE;
    huart4.Init.ClockPrescaler = UART_PRESCALER_DIV1;
    huart4.AdvancedInit.AdvFeatureInit = UART_ADVFEATURE_NO_INIT;
    if (HAL_UART_Init(&huart4) != HAL_OK)
    {
        Error_Handler();
    }
    if (HAL_UARTEx_SetTxFifoThreshold(&huart4, UART_TXFIFO_THRESHOLD_1_8) != HAL_OK)
    {
        Error_Handler();
    }
    if (HAL_UARTEx_SetRxFifoThreshold(&huart4, UART_RXFIFO_THRESHOLD_1_8) != HAL_OK)
    {
        Error_Handler();
    }
    if (HAL_UARTEx_DisableFifoMode(&huart4) != HAL_OK)
    {
        Error_Handler();
    }
}

static void MX_DMA_Init(void)
{

    /* DMA controller clock enable */
    __HAL_RCC_DMAMUX1_CLK_ENABLE();
    __HAL_RCC_DMA1_CLK_ENABLE();

    /* DMA interrupt init */
    /* DMA1_Channel1_IRQn interrupt configuration */
    HAL_NVIC_SetPriority(DMA1_Channel1_IRQn, 0, 0);
    HAL_NVIC_EnableIRQ(DMA1_Channel1_IRQn);
    /* DMA1_Channel2_IRQn interrupt configuration */
    HAL_NVIC_SetPriority(DMA1_Channel2_IRQn, 0, 0);
    HAL_NVIC_EnableIRQ(DMA1_Channel2_IRQn);
}

static void MX_GPIO_Init(void)
{
    GPIO_InitTypeDef GPIO_InitStruct = {0};

    /* GPIO Ports Clock Enable */
    __HAL_RCC_GPIOE_CLK_ENABLE();
    __HAL_RCC_GPIOB_CLK_ENABLE();
    __HAL_RCC_GPIOD_CLK_ENABLE();
    __HAL_RCC_GPIOA_CLK_ENABLE();
    __HAL_RCC_GPIOC_CLK_ENABLE();
    __HAL_RCC_GPIOF_CLK_ENABLE();

    /*Configure GPIO pin Output Level */
    HAL_GPIO_WritePin(EN_ZATVOR_GPIO_Port, EN_ZATVOR_Pin, GPIO_PIN_RESET);

    /*Configure GPIO pin Output Level */
    HAL_GPIO_WritePin(CAN_SDB_GPIO_Port, CAN_SDB_Pin, GPIO_PIN_RESET);

    /*Configure GPIO pin Output Level */
    HAL_GPIO_WritePin(SPI3_CS_GPIO_Port, SPI3_CS_Pin, GPIO_PIN_SET);

    /*Configure GPIO pin Output Level */
    HAL_GPIO_WritePin(SPI2_CS_GPIO_Port, SPI2_CS_Pin, GPIO_PIN_SET);

    /*Configure GPIO pin : EN_ZATVOR_Pin */
    GPIO_InitStruct.Pin = EN_ZATVOR_Pin;
    GPIO_InitStruct.Mode = GPIO_MODE_OUTPUT_PP;
    GPIO_InitStruct.Pull = GPIO_NOPULL;
    GPIO_InitStruct.Speed = GPIO_SPEED_FREQ_VERY_HIGH;
    HAL_GPIO_Init(EN_ZATVOR_GPIO_Port, &GPIO_InitStruct);

    /*Configure GPIO pin : DRIVER_FAULT_Pin */
    GPIO_InitStruct.Pin = DRIVER_FAULT_Pin;
    GPIO_InitStruct.Mode = GPIO_MODE_INPUT;
    GPIO_InitStruct.Pull = GPIO_NOPULL;
    HAL_GPIO_Init(DRIVER_FAULT_GPIO_Port, &GPIO_InitStruct);

    /*Configure GPIO pin : CAN_SDB_Pin */
    GPIO_InitStruct.Pin = CAN_SDB_Pin;
    GPIO_InitStruct.Mode = GPIO_MODE_OUTPUT_PP;
    GPIO_InitStruct.Pull = GPIO_NOPULL;
    GPIO_InitStruct.Speed = GPIO_SPEED_FREQ_LOW;
    HAL_GPIO_Init(CAN_SDB_GPIO_Port, &GPIO_InitStruct);

    /*Configure GPIO pin : SPI3_CS_Pin */
    GPIO_InitStruct.Pin = SPI3_CS_Pin;
    GPIO_InitStruct.Mode = GPIO_MODE_OUTPUT_PP;
    GPIO_InitStruct.Pull = GPIO_NOPULL;
    GPIO_InitStruct.Speed = GPIO_SPEED_FREQ_VERY_HIGH;
    HAL_GPIO_Init(SPI3_CS_GPIO_Port, &GPIO_InitStruct);

    /*Configure GPIO pin : SPI2_CS_Pin */
    GPIO_InitStruct.Pin = SPI2_CS_Pin;
    GPIO_InitStruct.Mode = GPIO_MODE_OUTPUT_PP;
    GPIO_InitStruct.Pull = GPIO_NOPULL;
    GPIO_InitStruct.Speed = GPIO_SPEED_FREQ_VERY_HIGH;
    HAL_GPIO_Init(SPI2_CS_GPIO_Port, &GPIO_InitStruct);
}

/* USER CODE BEGIN 4 */
void HAL_UART_RxCpltCallback(UART_HandleTypeDef *huart)
{
    if (huart == &huart4)
    {

        if (huart->pRxBuffPtr == Rx0)
        {
            HAL_UART_Receive_DMA(huart, Rx1, 500);
        }
        else if (huart->pRxBuffPtr == Rx1)
        {
            HAL_UART_Receive_DMA(huart, Rx0, 500);
        }
    }
}

void HAL_FDCAN_RxFifo0Callback(FDCAN_HandleTypeDef *hfdcan, uint32_t RxFifo0ITs)
{
    (void)RxFifo0ITs;
    FDCAN_RxHeaderTypeDef rx;
    CO_CANrxMsg_t can_open_msg;
    HAL_FDCAN_GetRxMessage(hfdcan, FDCAN_RX_FIFO0, &rx, can_open_msg.data);

    can_open_msg.DLC = rx.DataLength >> 16;
    can_open_msg.ident = rx.Identifier & CAN_SFF_MASK;

    can_interrupt_rx(CO->CANmodule[0], &can_open_msg);
}
/* USER CODE END 4 */

void Error_Handler(void)
{
}

/************************ (C) COPYRIGHT STMicroelectronics *****END OF FILE****/
